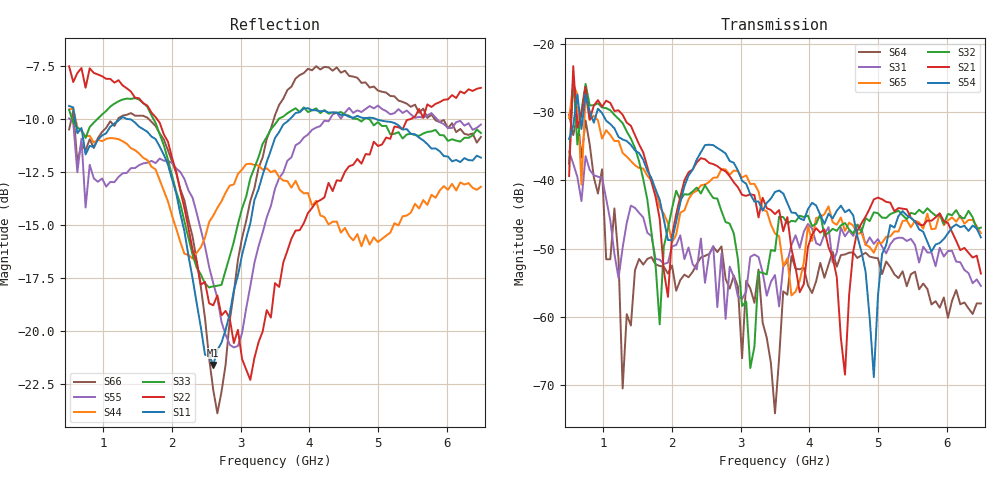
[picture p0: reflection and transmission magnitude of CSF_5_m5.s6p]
!Keysight Technologies,M9804A,MY58100912,A.14.10.03
!Date: Thursday, April 27, 2023 10:28:33
!Correction: S11(C  6-Port  )
!S12(C  6-Port  )
!S13(C  6-Port  )
!S14(C  6-Port  )
!S15(C  6-Port  )
!S16(C  6-Port  )
!S21(C  6-Port  )
!S22(C  6-Port  )
!S23(C  6-Port  )
!S24(C  6-Port  )
!S25(C  6-Port  )
!S26(C  6-Port  )
!S31(C  6-Port  )
!S32(C  6-Port  )
!S33(C  6-Port  )
!S34(C  6-Port  )
!S35(C  6-Port  )
!S36(C  6-Port  )
!S41(C  6-Port  )
!S42(C  6-Port  )
!S43(C  6-Port  )
!S44(C  6-Port  )
!S45(C  6-Port  )
!S46(C  6-Port  )
!S51(C  6-Port  )
!S52(C  6-Port  )
!S53(C  6-Port  )
!S54(C  6-Port  )
!S55(C  6-Port  )
!S56(C  6-Port  )
!S61(C  6-Port  )
!S62(C  6-Port  )
!S63(C  6-Port  )
!S64(C  6-Port  )
!S65(C  6-Port  )
!S66(C  6-Port  )
!S6P File: Measurement: :
# Hz S  RI  R 50
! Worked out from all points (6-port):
!   101 points, 500 MHz to 6.5 GHz, reference 50 ohm
!   strongest paths, dB at 500 MHz, 2 GHz, 3.5 GHz, 5 GHz, 6.5 GHz:
!     S54: -33.9, -48.8, -41.7, -57.0, -48.4
!     S21: -39.4, -48.0, -45.0, -42.5, -53.7
!     S32: -37.6, -44.1, -50.4, -44.8, -46.9
!     S65: -30.9, -49.1, -47.8, -49.2, -47.7
!     S31: -35.8, -49.7, -53.9, -48.6, -55.5
!     S64: -30.4, -52.5, -74.2, -51.4, -58.1
!   lowest |S11| = -21.6 dB at 2.6 GHz (marker M1), VSWR 1.18, Z = 42.6 + j2.06 ohm
!   |S11| at or under -10 dB: 587.1 MHz to 1.243 GHz (655.8 MHz wide, 71.7 % of centre); 1.362 GHz to 3.716 GHz (2.354 GHz wide, 92.7 % of centre); 4.974 GHz to end of sweep
